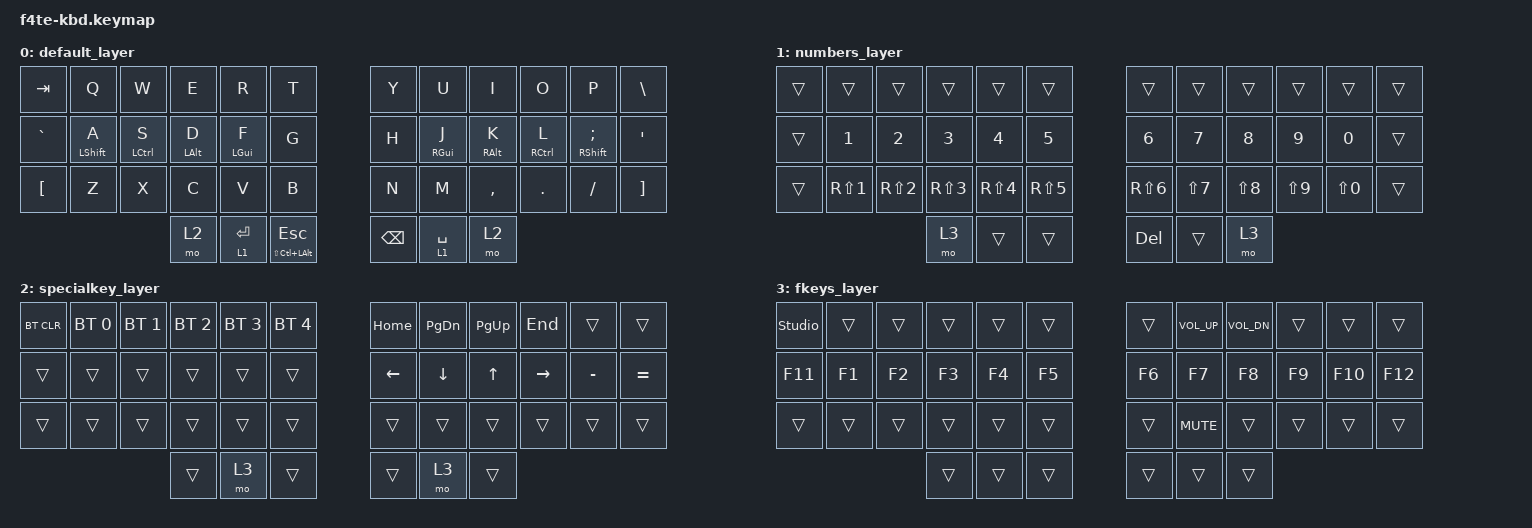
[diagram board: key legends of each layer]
/*
 * Copyright (c) 2020 The ZMK Contributors
 *
 * SPDX-License-Identifier: MIT
 */

#include <behaviors.dtsi>
#include <dt-bindings/zmk/keys.h>
#include <dt-bindings/zmk/bt.h>

&mt {
    flavor = "balanced";
    quick-tap-ms = <130>;
};

/ {
        keymap {
                compatible = "zmk,keymap";

                default_layer {
// -----------------------------------------------------------------------------------------
// | TAB           | Q          | W          | E          | R          | T            |    ---    | Y        | U          | I          | O         | P             | \      |
// | `             | mt LS A    | mt LC S    | mt LA D    | mt LG F    | G            |    ---    | H        | mt LG J    | mt RA K    | mt RC L   | mt RS ;       | '      |
// | [             | Z          | X          | C          | V          | B            |    ---    | N        | M          | ,          | .         | /             | ]      |
//                                           | mo 2       | lt 1 ENTER | mt Meh ESC   |    ---    | BSPACE   | lt 1 SPACE | mo 2       |
                        bindings = <
   &kp TAB         &kp Q        &kp W        &kp E        &kp R        &kp T                      &kp Y      &kp U        &kp I        &kp O       &kp P           &kp BSLH
   &kp GRAVE       &mt LSHIFT A &mt LCTRL S  &mt LALT D   &mt LGUI F   &kp G                      &kp H      &mt RGUI J   &mt RALT K   &mt RCTRL L &mt RSHIFT SEMI &kp SQT
   &kp LBKT        &kp Z        &kp X        &kp C        &kp V        &kp B                      &kp N      &kp M        &kp COMMA    &kp DOT     &kp FSLH        &kp RBKT
                                             &mo 2        &lt 1 ENTER  &mt LS(LC(LALT)) ESC       &kp BSPC   &lt 1 SPACE  &mo 2
                        >;
                };
                numbers_layer {
// -----------------------------------------------------------------------------------------
// |               |            |            |            |            |              |    ---    |          |            |            |           |               |        |
// |               | 1          | 2          | 3          | 4          | 5            |    ---    | 6        | 7          | 8          | 9         | 0             |        |
// |               | RS(1)      | RS(2)      | RS(3)      | RS(4)      | RS(5)        |    ---    | LS(6)    | LS(7)      | LS(8)      | LS(9)     | LS(0)         |        |
//                                           | mo 3       |            |              |    ---    | DEL      |            | mo 3       |
                        bindings = <
   &trans          &trans       &trans       &trans       &trans       &trans                     &trans     &trans       &trans       &trans       &trans          &trans
   &trans          &kp N1       &kp N2       &kp N3       &kp N4       &kp N5                     &kp N6     &kp N7       &kp N8       &kp N9      &kp N0          &trans
   &trans          &kp RS(N1)   &kp RS(N2)   &kp RS(N3)   &kp RS(N4)   &kp RS(N5)                 &kp RS(N6) &kp LS(N7)   &kp LS(N8)   &kp LS(N9)  &kp LS(N0)      &trans
                                             &mo 3        &trans       &trans                     &kp DEL    &trans       &mo 3
                        >;
                };
                specialkey_layer {
// -----------------------------------------------------------------------------------------
// | BT CLEAR      | BT 0       | BT 1       | BT 2       | BT 3       | BT 4         |    ---    |          |            |            |           |               |        |
// |               |            |            |            |            |              |    ---    | Left     | Down       | Up         | Right     | -             | =      |
// |               |            |            |            |            |              |    ---    |          |            |            |           |               |        |
//                                           |            | mo 3       |              |    ---    |          | mo 3       |            |
                        bindings = <
   &bt BT_CLR      &bt BT_SEL 0 &bt BT_SEL 1 &bt BT_SEL 2 &bt BT_SEL 3 &bt BT_SEL 4               &kp HOME   &kp PG_DN    &kp PG_UP    &kp END     &trans          &trans
   &trans          &trans       &trans       &trans       &trans       &trans                     &kp LEFT   &kp DOWN     &kp UP       &kp RIGHT   &kp MINUS       &kp EQUAL
   &trans          &trans       &trans       &trans       &trans       &trans                     &trans     &trans       &trans       &trans      &trans          &trans
                                             &trans       &mo 3        &trans                     &trans     &mo 3        &trans
                        >;
                };
                fkeys_layer {
// -----------------------------------------------------------------------------------------
// | Studio Unlock |            |            |            |            |              |    ---    |          | Vol Up     | Vol Down   |           |               |        |
// | F11           | F1         | F2         | F3         | F4         | F5           |    ---    | F6       | F7         | F8         | F9        | F10           | F12    |
// |               |            |            |            |            |              |    ---    |          | Vol Mute   |            |           |               |        |
//                                           |            |            |              |    ---    |          |            |            |
                        bindings = <
   &studio_unlock &trans       &trans        &trans       &trans       &trans                     &trans     &kp C_VOL_UP &kp C_VOL_DN &trans       &trans          &trans
   &kp F11        &kp F1       &kp F2        &kp F3       &kp F4       &kp F5                     &kp F6     &kp F7       &kp F8       &kp F9      &kp F10         &kp F12
   &trans         &trans       &trans        &trans       &trans       &trans                     &trans     &kp C_MUTE   &trans       &trans       &trans          &trans
                                             &trans       &trans       &trans                     &trans     &trans       &trans
                        >;
                };
        };
};
